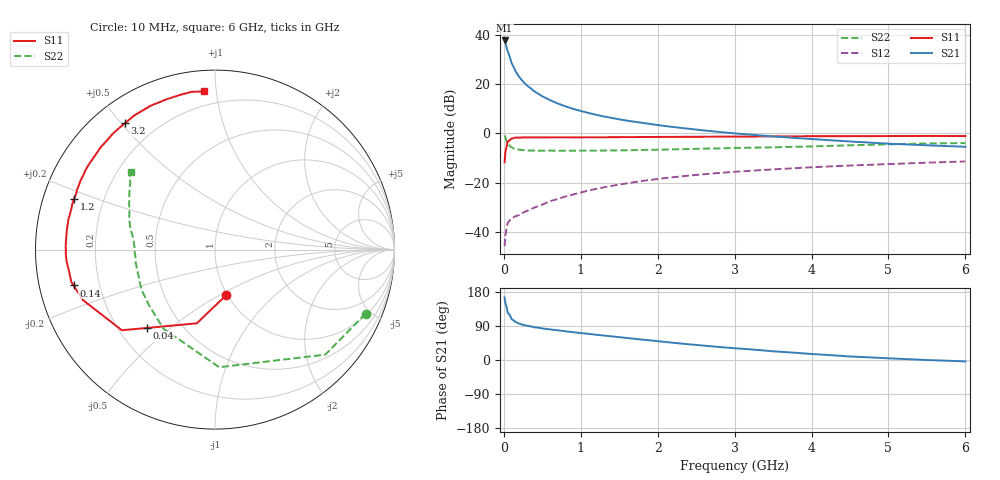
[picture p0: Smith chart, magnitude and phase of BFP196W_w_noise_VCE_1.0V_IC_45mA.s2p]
! (c) 2017  Infineon Technologies AG, Munich
! Infineon Technologies  Discrete & RF Semiconductors
! BFP196W
! VCE =  1.0 V,  IC =  45 mA
! Common Emitter S-Parameters:  Jan 2017
# GHz  S  MA  R  50
!  f  S11  S21  S12  S22
! GHz  MAG  ANG  MAG  ANG  MAG  ANG  MAG  ANG
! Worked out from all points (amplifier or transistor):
!   77 points, 10 MHz to 6 GHz, reference 50 ohm
!   highest |S21| = 37.7 dB at 10 MHz (marker M1)
!   |S21| within 3 dB of that: start of sweep to 37.78 MHz
!   unconditionally stable (mu >= 1): 622.4 MHz to 3.886 GHz; 4.165 GHz to 5.08 GHz
!   at 130 MHz: K = 0.44, MSG = 30.3 dB, |S12| = -33.9 dB
!   at 2.2 GHz: K = 1.05, MAG = 8.8 dB, |S12| = -17.7 dB
!   at 6 GHz: K = 0.99, MSG = 3.0 dB, |S12| = -11.3 dB
!   lowest NFmin = 1.31 dB at 450 MHz
!   S11 on the Smith chart (normalised r, x): 10 MHz: 0.99, -0.54; 40 MHz: 0.32, -0.42; 140 MHz: 0.10, -0.12; 1.2 GHz: 0.09, +0.17; 3.2 GHz: 0.09, +0.51; 6 GHz: 0.12, +0.93
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0.01  0.261 -76.0  76.34 165.1  0.0052 77.1  0.9119 -23.0
0.02  0.4233 -103.9  68.99 150.7  0.0085 64.0  0.8486 -43.6
0.04  0.5786 -131.0  52.41 135.8  0.013 48.6  0.6695 -70.7
0.05  0.6863 -139.1  46.13 124.8  0.0154 44.4  0.6559 -87.9
0.1  0.7884 -159.2  26.64 107.9  0.0189 36.8  0.5262 -123.0
0.14  0.813 -165.8  20.01 102.5  0.0206 37.3  0.4861 -136.4
0.15  0.8208 -167.4  18.39 100.5  0.021 37.4  0.4806 -140.1
0.2  0.8226 -172.1  13.91 96.0  0.0222 41.3  0.4675 -149.5
0.25  0.8292 -175.4  11.2 92.7  0.0249 43.7  0.4589 -155.6
0.3  0.8315 -177.9  9.341 90.4  0.0269 46.2  0.4516 -160.0
0.4  0.832 178.3  7.046 86.4  0.0316 52.3  0.4481 -165.6
0.5  0.8318 175.5  5.643 83.4  0.0361 55.6  0.4472 -169.3
0.7  0.8327 170.7  4.044 78.4  0.0468 59.6  0.4453 -174.4
0.9  0.8315 166.0  3.145 73.4  0.058 60.4  0.4473 -177.4
1.1  0.8344 162.1  2.598 69.0  0.0698 60.9  0.4481 179.8
1.2  0.8355 160.1  2.384 66.6  0.075 60.9  0.448 178.6
2.1  0.8485 143.3  1.412 47.6  0.1245 55.0  0.4715 169.0
3.1  0.8633 127.0  0.974 29.6  0.1707 45.5  0.5103 159.6
3.2  0.8647 125.5  0.947 28.1  0.1747 44.6  0.5131 158.6
4.1  0.8776 112.9  0.752 14.6  0.2094 36.7  0.5508 150.2
5.1  0.8839 102.1  0.61 3.6  0.2423 28.5  0.6052 141.4
6  0.8837 93.8  0.536 -3.7  0.2708 21.4  0.6362 137.0
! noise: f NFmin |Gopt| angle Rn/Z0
0.45  1.31  0.5  -177  0.05
0.9  1.44  0.54  -172  0.07
1.9  2.26  0.69  -150  0.15
2.4  2.66  0.73  -145  0.25
